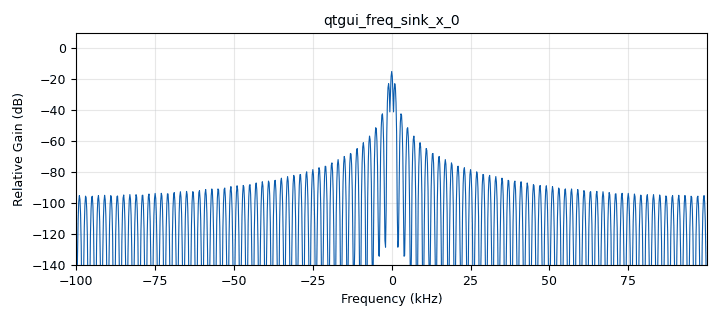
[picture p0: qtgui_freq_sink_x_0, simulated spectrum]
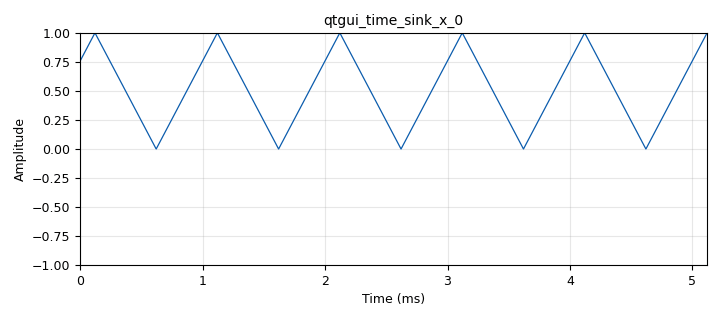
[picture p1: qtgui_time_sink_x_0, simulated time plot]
options:
  parameters:
    author: Daniela_Brayan_LICG2
    copyright: Daniela_Brayan_LICG2
    generate_options: qt_gui
    id: lab1_3
    output_language: python
    title: ConfiguracionUSRP
  states: {}

blocks:
- name: A
  id: variable_qtgui_range
  parameters:
    label: amplitud señal TX
    start: '0'
    step: '100e-6'
    stop: '1'
    value: '1'
  states: {}
- name: GTX
  id: variable_qtgui_range
  parameters:
    label: ganancia del TX
    start: '0'
    step: '1'
    stop: '30'
    value: '0'
  states: {}
- name: fc
  id: variable_qtgui_range
  parameters:
    label: frecuencia portadora
    start: '50000000'
    step: '1000000'
    stop: '2200000000'
    value: '50000000'
  states: {}
- name: samp_rate
  id: variable
  parameters:
    value: '200000'
  states: {}
- name: CalculoPotenciaComunicaciones_0
  id: CalculoPotenciaComunicaciones
  parameters:
    I_vect: '1024'
  states: {}
- name: analog_sig_source_x_0
  id: analog_sig_source_x
  parameters:
    amp: A
    freq: '1000'
    offset: '0'
    phase: '0'
    samp_rate: samp_rate
    type: float
    waveform: analog.GR_TRI_WAVE
  states: {}
- name: blocks_float_to_complex_0
  id: blocks_float_to_complex
  parameters: {}
  states: {}
- name: qtgui_freq_sink_x_0
  id: qtgui_freq_sink_x
  parameters:
    bw: samp_rate
    fc: '0'
    fftsize: '1024'
    type: float
  states: {}
- name: qtgui_time_sink_x_0
  id: qtgui_time_sink_x
  parameters:
    size: '1024'
    srate: samp_rate
    type: float
  states: {}
- name: uhd_usrp_sink_0
  id: uhd_usrp_sink
  parameters:
    ant0: '"TX/RX"'
    center_freq0: fc
    gain0: GTX
    samp_rate: samp_rate
    sync: pc_clock
    type: fc32
  states: {}

connections:
- [analog_sig_source_x_0, '0', CalculoPotenciaComunicaciones_0, '0']
- [analog_sig_source_x_0, '0', blocks_float_to_complex_0, '0']
- [analog_sig_source_x_0, '0', qtgui_freq_sink_x_0, '0']
- [analog_sig_source_x_0, '0', qtgui_time_sink_x_0, '0']
- [blocks_float_to_complex_0, '0', uhd_usrp_sink_0, '0']

metadata:
  file_format: 1
  grc_version: 3.10.5.1
